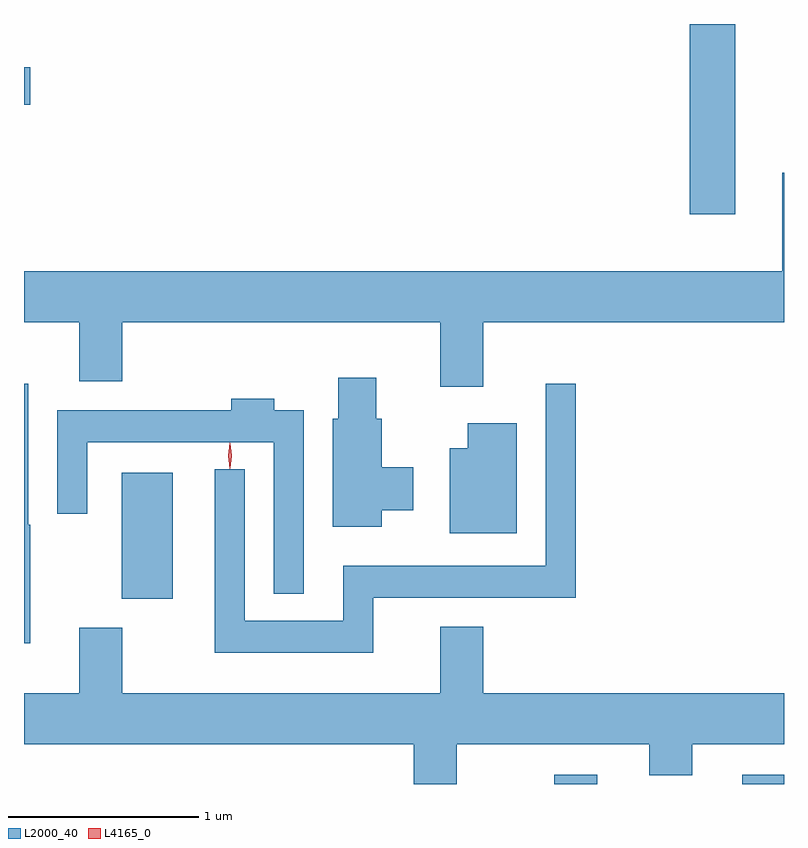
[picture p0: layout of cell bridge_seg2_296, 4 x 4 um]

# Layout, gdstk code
import gdstk
lib = gdstk.Library(unit=1e-6, precision=1e-09)
def R(c, l, rs):  # rectangles x0, y0, x1, y1
    for r in rs: c.add(gdstk.rectangle(r[:2], r[2:], *l))
def P(c, l, *ps):  # polygons
    for p in ps: c.add(gdstk.Polygon(p, *l))
L2000_40 = (2000, 40)
L4165_0 = (4165, 0)

bridge_seg2_296 = lib.new_cell('bridge_seg2_296')
R(bridge_seg2_296, L2000_40, [(430.661,1083.626,430.889,1083.674), (431.651,1083.626,431.871,1083.674), (428.386,1084.601,428.654,1085.264), (431.376,1086.626,431.614,1087.626), (427.871,1087.201,427.904,1087.399)])
P(bridge_seg2_296, L2000_40, [(430.289,1086.056),(431.871,1086.056),(431.871,1086.844),(431.861,1086.844),(431.861,1086.324),(427.871,1086.324),(427.871,1086.056),(428.161,1086.056),(428.161,1085.746),(428.389,1085.746),(428.389,1086.056),(430.061,1086.056),(430.061,1085.716),(430.289,1085.716)],
  [(429.754,1085.066),(429.919,1085.066),(429.919,1085.294),(429.754,1085.294),(429.754,1085.549),(429.724,1085.549),(429.724,1085.764),(429.526,1085.764),(429.526,1085.549),(429.496,1085.549),(429.496,1084.981),(429.754,1084.981)],
  [(427.904,1084.99),(427.894,1084.99),(427.894,1085.733),(427.871,1085.733),(427.871,1084.366),(427.904,1084.366)],
  [(429.709,1084.606),(430.774,1084.606),(430.774,1085.733),(430.616,1085.733),(430.616,1084.774),(429.551,1084.774),(429.551,1084.484),(429.034,1084.484),(429.034,1085.283),(428.876,1085.283),(428.876,1084.316),(429.709,1084.316)],
  [(429.344,1085.594),(429.189,1085.594),(429.189,1085.654),(428.961,1085.654),(428.961,1085.594),(428.046,1085.594),(428.046,1085.048),(428.204,1085.048),(428.204,1085.426),(429.186,1085.426),(429.186,1084.628),(429.344,1084.628)],
  [(430.464,1085.524),(430.206,1085.524),(430.206,1085.394),(430.111,1085.394),(430.111,1084.946),(430.464,1084.946)],
  [(430.149,1083.836),(431.161,1083.836),(431.161,1083.671),(431.389,1083.671),(431.389,1083.836),(431.871,1083.836),(431.871,1084.104),(430.289,1084.104),(430.289,1084.454),(430.061,1084.454),(430.061,1084.104),(428.389,1084.104),(428.389,1084.449),(428.161,1084.449),(428.161,1084.104),(427.871,1084.104),(427.871,1083.836),(429.921,1083.836),(429.921,1083.626),(430.149,1083.626)])
P(bridge_seg2_296, L4165_0, [(428.954,1085.284),(428.945,1085.353),(428.954,1085.422),(428.955,1085.423),(428.955,1085.422),(428.965,1085.353),(428.955,1085.284),(428.955,1085.284)],
  [(428.954,1085.287),(428.945,1085.354),(428.954,1085.42),(428.955,1085.421),(428.956,1085.42),(428.965,1085.354),(428.956,1085.287),(428.955,1085.287)])

lib.write_gds('bridge_seg2_296.gds')
